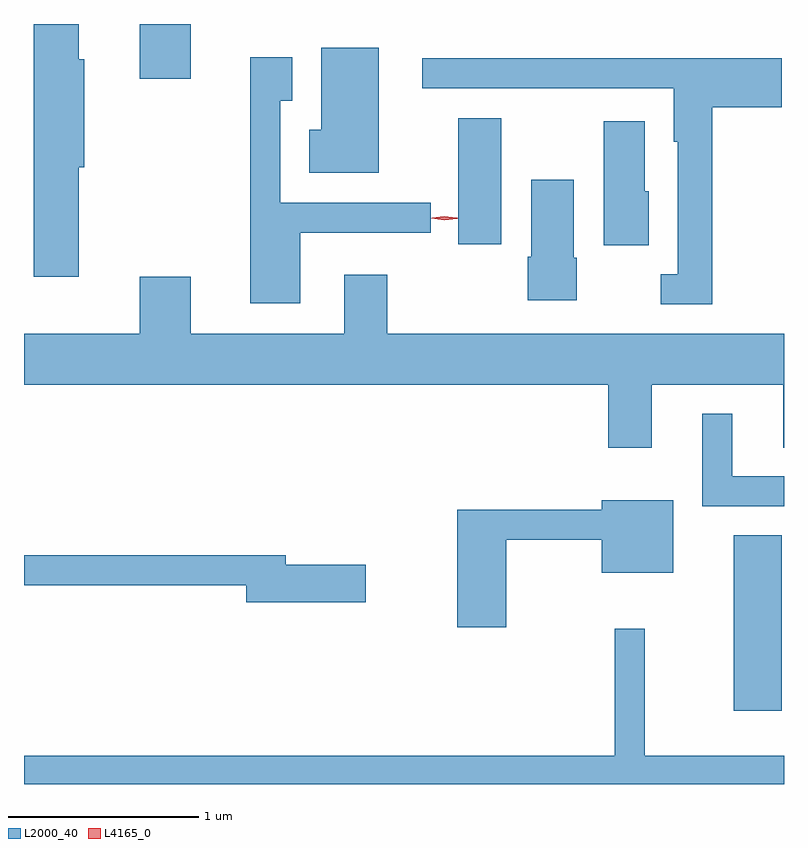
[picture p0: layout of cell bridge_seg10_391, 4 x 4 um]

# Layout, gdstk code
import gdstk
lib = gdstk.Library(unit=1e-6, precision=1e-09)
def R(c, l, rs):  # rectangles x0, y0, x1, y1
    for r in rs: c.add(gdstk.rectangle(r[:2], r[2:], *l))
def P(c, l, *ps):  # polygons
    for p in ps: c.add(gdstk.Polygon(p, *l))
L2000_40 = (2000, 40)
L4165_0 = (4165, 0)

bridge_seg10_391 = lib.new_cell('bridge_seg10_391')
R(bridge_seg10_391, L2000_40, [(1337.081,2123.301,1337.334,2124.224), (1335.631,2125.756,1335.859,2126.419), (1333.956,2126.626,1334.224,2126.915)])
P(bridge_seg10_391, L2000_40, [(1333.634,2126.161),(1333.664,2126.161),(1333.664,2126.729),(1333.634,2126.729),(1333.634,2126.915),(1333.396,2126.915),(1333.396,2125.586),(1333.634,2125.586)],
  [(1335.214,2126.789),(1334.911,2126.789),(1334.911,2126.359),(1334.846,2126.359),(1334.846,2126.131),(1335.214,2126.131)],
  [(1334.799,2125.816),(1335.488,2125.816),(1335.488,2125.974),(1334.694,2125.974),(1334.694,2126.511),(1334.759,2126.511),(1334.759,2126.739),(1334.536,2126.739),(1334.536,2125.446),(1334.799,2125.446)],
  [(1336.969,2126.476),(1337.334,2126.476),(1337.334,2126.734),(1335.443,2126.734),(1335.443,2126.576),(1336.766,2126.576),(1336.766,2126.296),(1336.786,2126.296),(1336.786,2125.599),(1336.698,2125.599),(1336.698,2125.441),(1336.969,2125.441)],
  [(1336.634,2126.034),(1336.614,2126.034),(1336.614,2126.404),(1336.396,2126.404),(1336.396,2125.751),(1336.634,2125.751)],
  [(1336.254,2125.685),(1336.239,2125.685),(1336.239,2126.094),(1336.016,2126.094),(1336.016,2125.689),(1335.996,2125.689),(1335.996,2125.461),(1336.254,2125.461)],
  [(1336.649,2125.016),(1337.341,2125.016),(1337.341,2124.686),(1337.346,2124.686),(1337.346,2125.284),(1335.259,2125.284),(1335.259,2125.594),(1335.031,2125.594),(1335.031,2125.284),(1334.224,2125.284),(1334.224,2125.584),(1333.956,2125.584),(1333.956,2125.284),(1333.346,2125.284),(1333.346,2125.016),(1336.421,2125.016),(1336.421,2124.686),(1336.649,2124.686)],
  [(1337.346,2124.534),(1337.074,2124.534),(1337.074,2124.863),(1336.916,2124.863),(1336.916,2124.376),(1337.346,2124.376)],
  [(1335.884,2124.201),(1336.386,2124.201),(1336.386,2124.026),(1336.764,2124.026),(1336.764,2124.409),(1336.386,2124.409),(1336.386,2124.359),(1335.626,2124.359),(1335.626,2123.741),(1335.884,2123.741)],
  [(1335.144,2124.069),(1334.724,2124.069),(1334.724,2124.119),(1333.346,2124.119),(1333.346,2123.961),(1334.516,2123.961),(1334.516,2123.871),(1335.144,2123.871)],
  [(1337.346,2123.064),(1336.614,2123.064),(1336.614,2123.733),(1336.456,2123.733),(1336.456,2123.064),(1333.346,2123.064),(1333.346,2122.915),(1337.346,2122.915)])
P(bridge_seg10_391, L4165_0, [(1335.558,2125.882),(1335.49,2125.892),(1335.49,2125.892),(1335.49,2125.893),(1335.558,2125.902),(1335.627,2125.892),(1335.628,2125.892),(1335.627,2125.891)],
  [(1335.559,2125.885),(1335.494,2125.894),(1335.493,2125.895),(1335.494,2125.896),(1335.559,2125.904),(1335.624,2125.895),(1335.625,2125.894),(1335.624,2125.894)])

lib.write_gds('bridge_seg10_391.gds')
